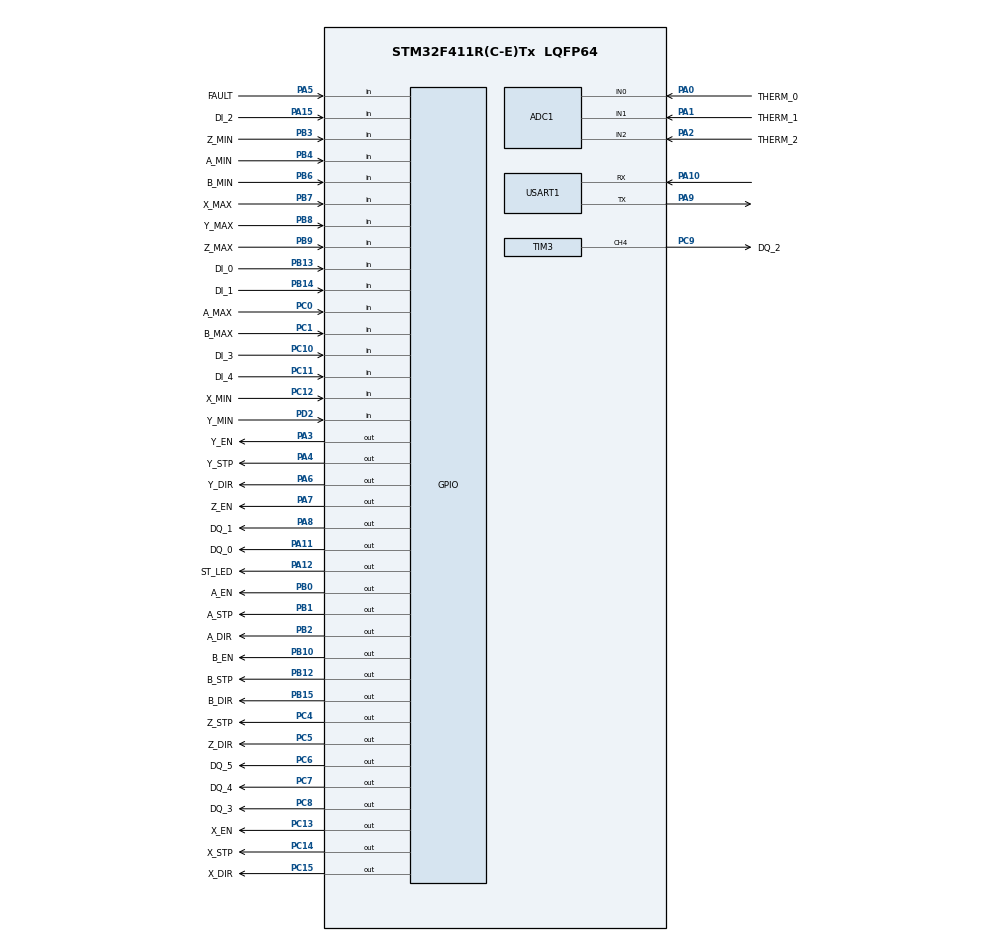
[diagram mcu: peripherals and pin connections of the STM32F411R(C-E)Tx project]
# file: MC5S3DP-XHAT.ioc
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ADC1.Channel-0\#ChannelRegularConversion=ADC_CHANNEL_0
ADC1.NbrOfConversionFlag=1
ADC1.Rank-0\#ChannelRegularConversion=1
ADC1.SamplingTime-0\#ChannelRegularConversion=ADC_SAMPLETIME_3CYCLES
ADC1.master=1
Dma.Request0=USART1_RX
Dma.Request1=USART1_TX
Dma.USART1_RX.0.Direction=DMA_PERIPH_TO_MEMORY
Dma.USART1_RX.0.FIFOMode=DMA_FIFOMODE_DISABLE
Dma.USART1_RX.0.Instance=DMA2_Stream2
Dma.USART1_RX.0.MemDataAlignment=DMA_MDATAALIGN_BYTE
Dma.USART1_RX.0.MemInc=DMA_MINC_ENABLE
Dma.USART1_RX.0.Mode=DMA_CIRCULAR
Dma.USART1_RX.0.PeriphDataAlignment=DMA_PDATAALIGN_BYTE
Dma.USART1_RX.0.PeriphInc=DMA_PINC_DISABLE
Dma.USART1_RX.0.Priority=DMA_PRIORITY_LOW
Dma.USART1_TX.1.Direction=DMA_MEMORY_TO_PERIPH
Dma.USART1_TX.1.FIFOMode=DMA_FIFOMODE_DISABLE
Dma.USART1_TX.1.Instance=DMA2_Stream7
Dma.USART1_TX.1.MemDataAlignment=DMA_MDATAALIGN_BYTE
Dma.USART1_TX.1.MemInc=DMA_MINC_ENABLE
Dma.USART1_TX.1.Mode=DMA_NORMAL
Dma.USART1_TX.1.PeriphDataAlignment=DMA_PDATAALIGN_BYTE
Dma.USART1_TX.1.PeriphInc=DMA_PINC_DISABLE
Dma.USART1_TX.1.Priority=DMA_PRIORITY_LOW
Mcu.Family=STM32F4
Mcu.Name=STM32F411R(C-E)Tx
Mcu.Package=LQFP64
NVIC.DMA2_Stream2_IRQn=true\:0\:0\:false\:false\:true\:false
NVIC.DMA2_Stream7_IRQn=true\:0\:0\:false\:false\:true\:false
NVIC.PriorityGroup=NVIC_PRIORITYGROUP_4
NVIC.USART1_IRQn=true\:0\:0\:false\:false\:true\:true
PA0-WKUP.GPIO_Label=THERM_0
PA0-WKUP.Signal=ADCx_IN0
PA1.GPIO_Label=THERM_1
PA1.Signal=ADCx_IN1
PA10.Mode=Asynchronous
PA10.Signal=USART1_RX
PA11.GPIO_Label=DQ_0
PA11.Signal=GPIO_Output
PA12.GPIO_Label=ST_LED
PA12.Signal=GPIO_Output
PA13.Mode=Serial_Wire
PA13.Signal=SYS_JTMS-SWDIO
PA14.Mode=Serial_Wire
PA14.Signal=SYS_JTCK-SWCLK
PA15.GPIO_Label=DI_2
PA15.GPIO_PuPd=GPIO_PULLUP
PA15.Signal=GPIO_Input
PA2.GPIO_Label=THERM_2
PA2.Signal=ADCx_IN2
PA3.GPIO_Label=Y_EN
PA3.Signal=GPIO_Output
PA4.GPIO_Label=Y_STP
PA4.Signal=GPIO_Output
PA5.GPIO_Label=FAULT
PA5.Signal=GPIO_Input
PA6.GPIO_Label=Y_DIR
PA6.Signal=GPIO_Output
PA7.GPIO_Label=Z_EN
PA7.Signal=GPIO_Output
PA8.GPIO_Label=DQ_1
PA8.Signal=GPIO_Output
PA9.Mode=Asynchronous
PA9.Signal=USART1_TX
PB0.GPIO_Label=A_EN
PB0.Signal=GPIO_Output
PB1.GPIO_Label=A_STP
PB1.Signal=GPIO_Output
PB10.GPIO_Label=B_EN
PB10.Signal=GPIO_Output
PB12.GPIO_Label=B_STP
PB12.Signal=GPIO_Output
PB13.GPIO_Label=DI_0
PB13.GPIO_PuPd=GPIO_PULLUP
PB13.Signal=GPIO_Input
PB14.GPIO_Label=DI_1
PB14.GPIO_PuPd=GPIO_PULLUP
PB14.Signal=GPIO_Input
PB15.GPIO_Label=B_DIR
PB15.Signal=GPIO_Output
PB2.GPIO_Label=A_DIR
PB2.Signal=GPIO_Output
PB3.GPIO_Label=Z_MIN
PB3.GPIO_PuPd=GPIO_PULLUP
PB3.Signal=GPIO_Input
PB4.GPIO_Label=A_MIN
PB4.GPIO_PuPd=GPIO_PULLUP
PB4.Signal=GPIO_Input
PB6.GPIO_Label=B_MIN
PB6.GPIO_PuPd=GPIO_PULLUP
PB6.Signal=GPIO_Input
PB7.GPIO_Label=X_MAX
PB7.GPIO_PuPd=GPIO_PULLUP
PB7.Signal=GPIO_Input
PB8.GPIO_Label=Y_MAX
PB8.GPIO_PuPd=GPIO_PULLUP
PB8.Signal=GPIO_Input
PB9.GPIO_Label=Z_MAX
PB9.GPIO_PuPd=GPIO_PULLUP
PB9.Signal=GPIO_Input
PC0.GPIO_Label=A_MAX
PC0.GPIO_PuPd=GPIO_PULLUP
PC0.Signal=GPIO_Input
PC1.GPIO_Label=B_MAX
PC1.GPIO_PuPd=GPIO_PULLUP
PC1.Signal=GPIO_Input
PC10.GPIO_Label=DI_3
PC10.GPIO_PuPd=GPIO_PULLUP
PC10.Signal=GPIO_Input
PC11.GPIO_Label=DI_4
PC11.GPIO_PuPd=GPIO_PULLUP
PC11.Signal=GPIO_Input
PC12.GPIO_Label=X_MIN
PC12.GPIO_PuPd=GPIO_PULLUP
PC12.Signal=GPIO_Input
PC13-ANTI_TAMP.GPIO_Label=X_EN
PC13-ANTI_TAMP.Signal=GPIO_Output
PC14-OSC32_IN.GPIO_Label=X_STP
PC14-OSC32_IN.Signal=GPIO_Output
PC15-OSC32_OUT.GPIO_Label=X_DIR
PC15-OSC32_OUT.Signal=GPIO_Output
PC4.GPIO_Label=Z_STP
PC4.Signal=GPIO_Output
PC5.GPIO_Label=Z_DIR
PC5.Signal=GPIO_Output
PC6.GPIO_Label=DQ_5
PC6.Signal=GPIO_Output
PC7.GPIO_Label=DQ_4
PC7.Signal=GPIO_Output
PC8.GPIO_Label=DQ_3
PC8.Signal=GPIO_Output
PC9.GPIO_Label=DQ_2
PC9.Signal=S_TIM3_CH4
PD2.GPIO_Label=Y_MIN
PD2.GPIO_PuPd=GPIO_PULLUP
PD2.Signal=GPIO_Input
PH0\ -\ OSC_IN.Mode=HSE-External-Clock-Source
PH0\ -\ OSC_IN.Signal=RCC_OSC_IN
PH1\ -\ OSC_OUT.Mode=HSE-External-Clock-Source
PH1\ -\ OSC_OUT.Signal=RCC_OSC_OUT
ProjectManager.HeapSize=0x200
ProjectManager.StackSize=0x400
ProjectManager.TargetToolchain=SW4STM32
RCC.48MHZClocksFreq_Value=50000000
RCC.AHBFreq_Value=100000000
RCC.APB1CLKDivider=RCC_HCLK_DIV2
RCC.APB1Freq_Value=50000000
RCC.APB1TimFreq_Value=100000000
RCC.APB2Freq_Value=100000000
RCC.APB2TimFreq_Value=100000000
RCC.CortexFreq_Value=100000000
RCC.HCLKFreq_Value=100000000
RCC.HSE_VALUE=8000000
RCC.HSI_VALUE=16000000
RCC.LSE_VALUE=32768
RCC.PLLM=8
RCC.PLLN=200
RCC.PLLSourceVirtual=RCC_PLLSOURCE_HSE
RCC.SYSCLKFreq_VALUE=100000000
RCC.SYSCLKSource=RCC_SYSCLKSOURCE_PLLCLK
RCC.VCOOutputFreq_Value=200000000
SH.ADCx_IN0.0=ADC1_IN0,IN0
SH.ADCx_IN1.0=ADC1_IN1,IN1
SH.ADCx_IN2.0=ADC1_IN2,IN2
SH.S_TIM3_CH4.0=TIM3_CH4,PWM Generation4 CH4
TIM3.Channel-PWM\ Generation4\ CH4=TIM_CHANNEL_4
TIM3.Period=0xFFF
USART1.VirtualMode=VM_ASYNC
board=custom

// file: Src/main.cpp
/**
  ******************************************************************************
  * @file           : main.c
  * @brief          : Main program body
  ******************************************************************************
  ** This notice applies to any and all portions of this file
  * that are not between comment pairs USER CODE BEGIN and
  * USER CODE END. Other portions of this file, whether
  * inserted by the user or by software development tools
  * are owned by their respective copyright owners.
  *
  * COPYRIGHT(c) 2018 STMicroelectronics
  *
  * Redistribution and use in source and binary forms, with or without modification,
  * are permitted provided that the following conditions are met:
  *   1. Redistributions of source code must retain the above copyright notice,
  *      this list of conditions and the following disclaimer.
  *   2. Redistributions in binary form must reproduce the above copyright notice,
  *      this list of conditions and the following disclaimer in the documentation
  *      and/or other materials provided with the distribution.
  *   3. Neither the name of STMicroelectronics nor the names of its contributors
  *      may be used to endorse or promote products derived from this software
  *      without specific prior written permission.
  *
  * THIS SOFTWARE IS PROVIDED BY THE COPYRIGHT HOLDERS AND CONTRIBUTORS "AS IS"
  * AND ANY EXPRESS OR IMPLIED WARRANTIES, INCLUDING, BUT NOT LIMITED TO, THE
  * IMPLIED WARRANTIES OF MERCHANTABILITY AND FITNESS FOR A PARTICULAR PURPOSE ARE
  * DISCLAIMED. IN NO EVENT SHALL THE COPYRIGHT HOLDER OR CONTRIBUTORS BE LIABLE
  * FOR ANY DIRECT, INDIRECT, INCIDENTAL, SPECIAL, EXEMPLARY, OR CONSEQUENTIAL
  * DAMAGES (INCLUDING, BUT NOT LIMITED TO, PROCUREMENT OF SUBSTITUTE GOODS OR
  * SERVICES; LOSS OF USE, DATA, OR PROFITS; OR BUSINESS INTERRUPTION) HOWEVER
  * CAUSED AND ON ANY THEORY OF LIABILITY, WHETHER IN CONTRACT, STRICT LIABILITY,
  * OR TORT (INCLUDING NEGLIGENCE OR OTHERWISE) ARISING IN ANY WAY OUT OF THE USE
  * OF THIS SOFTWARE, EVEN IF ADVISED OF THE POSSIBILITY OF SUCH DAMAGE.
  *
  ******************************************************************************
  */
#include "main.h"

/* USER CODE BEGIN Includes */
#include "spindle_control.h"
#include "coolant_control.h"
/* USER CODE END Includes */

/* USER CODE BEGIN PV */
/* Private variables ---------------------------------------------------------*/

hal::SerialPort serial_port{
  USART1,
  DMA2, LL_DMA_STREAM_2,
  DMA2, LL_DMA_STREAM_7,
};

hal::DigitalOutputPin spindle_enable_pin{DQ_0_GPIO_Port, DQ_0_Pin};
hal::DigitalOutputPin spindle_direction_pin{DQ_1_GPIO_Port, DQ_1_Pin};
hal::PwmPin spindle_speed_pin{TIM3, LL_TIM_CHANNEL_CH4}; //DQ2

grbl::SpindleControl spindle_control {
  spindle_enable_pin,
  spindle_direction_pin,
  spindle_speed_pin,
  1000,
  100
};

/* USER CODE END PV */

static void LL_Init(void);
void SystemClock_Config(void);
static void MX_GPIO_Init(void);
static void MX_DMA_Init(void);
static void MX_ADC1_Init(void);
static void MX_USART1_UART_Init(void);
static void MX_TIM3_Init(void);

/* USER CODE BEGIN PFP */
/* Private function prototypes -----------------------------------------------*/

/* USER CODE END PFP */

int main(void)
{
  /* USER CODE BEGIN 1 */
  static uint8_t b;
  static uint8_t data[100];
  static uint32_t idx = 0;

  /* USER CODE END 1 */

  /* MCU Configuration----------------------------------------------------------*/

  /* Reset of all peripherals, Initializes the Flash interface and the Systick. */
  LL_Init();

  /* Configure the system clock */
  SystemClock_Config();

  /* Initialize all configured peripherals */
  MX_GPIO_Init();
  MX_DMA_Init();
  MX_ADC1_Init();
  MX_USART1_UART_Init();
  MX_TIM3_Init();
  /* USER CODE BEGIN 2 */

//  LL_SYSTICK_EnableIT();
//  LL_TIM_EnableCounter(TIM3);
//  LL_TIM_EnableAllOutputs(TIM3);

//  hal::SerialPort serial_port(115200);
//
//  hal::DigitalOutputPin spindle_enable_pin(DQ_0_GPIO_Port, DQ_0_Pin);
//  hal::DigitalOutputPin spindle_direction_pin(DQ_1_GPIO_Port, DQ_1_Pin);
//  hal::PwmPin spindle_speed_pin(TIM3, LL_TIM_CHANNEL_CH4); //DQ2
//
//  grbl::SpindleControl spindle(
//      spindle_enable_pin,
//      spindle_direction_pin,
//      spindle_speed_pin,
//      1000,
//      100);

  serial_port.Open(115200);
   /* USER CODE END 2 */

  /* Infinite loop */
  /* USER CODE BEGIN WHILE */
//  char str[] = "Ana are";
  char str[] = "Andreea are mere frumoase si zemoase!\n";
  uint32_t i = 0;
  while(str[i] != 0) {
    while(!serial_port.Write(str[i]));
    i++;
  }

  while(1) {
    if(serial_port.Read(b)) {
//      data[idx++] = b;
      serial_port.Write(b);
    }
  }
  /* USER CODE END WHILE */

}

static void LL_Init(void)
{

  LL_APB2_GRP1_EnableClock(LL_APB2_GRP1_PERIPH_SYSCFG);
  LL_APB1_GRP1_EnableClock(LL_APB1_GRP1_PERIPH_PWR);

  NVIC_SetPriorityGrouping(NVIC_PRIORITYGROUP_4);

  /* System interrupt init*/
  /* MemoryManagement_IRQn interrupt configuration */
  NVIC_SetPriority(MemoryManagement_IRQn, NVIC_EncodePriority(NVIC_GetPriorityGrouping(),0, 0));
  /* BusFault_IRQn interrupt configuration */
  NVIC_SetPriority(BusFault_IRQn, NVIC_EncodePriority(NVIC_GetPriorityGrouping(),0, 0));
  /* UsageFault_IRQn interrupt configuration */
  NVIC_SetPriority(UsageFault_IRQn, NVIC_EncodePriority(NVIC_GetPriorityGrouping(),0, 0));
  /* SVCall_IRQn interrupt configuration */
  NVIC_SetPriority(SVCall_IRQn, NVIC_EncodePriority(NVIC_GetPriorityGrouping(),0, 0));
  /* DebugMonitor_IRQn interrupt configuration */
  NVIC_SetPriority(DebugMonitor_IRQn, NVIC_EncodePriority(NVIC_GetPriorityGrouping(),0, 0));
  /* PendSV_IRQn interrupt configuration */
  NVIC_SetPriority(PendSV_IRQn, NVIC_EncodePriority(NVIC_GetPriorityGrouping(),0, 0));
  /* SysTick_IRQn interrupt configuration */
  NVIC_SetPriority(SysTick_IRQn, NVIC_EncodePriority(NVIC_GetPriorityGrouping(),0, 0));

}

void SystemClock_Config(void)
{

  LL_FLASH_SetLatency(LL_FLASH_LATENCY_3);

  if(LL_FLASH_GetLatency() != LL_FLASH_LATENCY_3)
  {
  Error_Handler();
  }
  LL_PWR_SetRegulVoltageScaling(LL_PWR_REGU_VOLTAGE_SCALE1);

  LL_RCC_HSE_EnableBypass();

  LL_RCC_HSE_Enable();

   /* Wait till HSE is ready */
  while(LL_RCC_HSE_IsReady() != 1)
  {

  }
  LL_RCC_PLL_ConfigDomain_SYS(LL_RCC_PLLSOURCE_HSE, LL_RCC_PLLM_DIV_8, 200, LL_RCC_PLLP_DIV_2);

  LL_RCC_PLL_Enable();

   /* Wait till PLL is ready */
  while(LL_RCC_PLL_IsReady() != 1)
  {

  }
  LL_RCC_SetAHBPrescaler(LL_RCC_SYSCLK_DIV_1);

  LL_RCC_SetAPB1Prescaler(LL_RCC_APB1_DIV_2);

  LL_RCC_SetAPB2Prescaler(LL_RCC_APB2_DIV_1);

  LL_RCC_SetSysClkSource(LL_RCC_SYS_CLKSOURCE_PLL);

   /* Wait till System clock is ready */
  while(LL_RCC_GetSysClkSource() != LL_RCC_SYS_CLKSOURCE_STATUS_PLL)
  {

  }
  LL_Init1msTick(100000000);

  LL_SYSTICK_SetClkSource(LL_SYSTICK_CLKSOURCE_HCLK);

  LL_SetSystemCoreClock(100000000);

  LL_RCC_SetTIMPrescaler(LL_RCC_TIM_PRESCALER_TWICE);

  /* SysTick_IRQn interrupt configuration */
  NVIC_SetPriority(SysTick_IRQn, NVIC_EncodePriority(NVIC_GetPriorityGrouping(),0, 0));
}

/* ADC1 init function */
static void MX_ADC1_Init(void)
{

  LL_ADC_InitTypeDef ADC_InitStruct;
  LL_ADC_REG_InitTypeDef ADC_REG_InitStruct;
  LL_ADC_CommonInitTypeDef ADC_CommonInitStruct;

  LL_GPIO_InitTypeDef GPIO_InitStruct;

  /* Peripheral clock enable */
  LL_APB2_GRP1_EnableClock(LL_APB2_GRP1_PERIPH_ADC1);

  /**ADC1 GPIO Configuration
  PA0-WKUP   ------> ADC1_IN0
  PA1   ------> ADC1_IN1
  PA2   ------> ADC1_IN2
  */
  GPIO_InitStruct.Pin = THERM_0_Pin|THERM_1_Pin|THERM_2_Pin;
  GPIO_InitStruct.Mode = LL_GPIO_MODE_ANALOG;
  GPIO_InitStruct.Pull = LL_GPIO_PULL_NO;
  LL_GPIO_Init(GPIOA, &GPIO_InitStruct);

    /**Common config
    */
  ADC_InitStruct.Resolution = LL_ADC_RESOLUTION_12B;
  ADC_InitStruct.DataAlignment = LL_ADC_DATA_ALIGN_RIGHT;
  ADC_InitStruct.SequencersScanMode = LL_ADC_SEQ_SCAN_DISABLE;
  LL_ADC_Init(ADC1, &ADC_InitStruct);

  ADC_REG_InitStruct.TriggerSource = LL_ADC_REG_TRIG_SOFTWARE;
  ADC_REG_InitStruct.SequencerLength = LL_ADC_REG_SEQ_SCAN_DISABLE;
  ADC_REG_InitStruct.SequencerDiscont = LL_ADC_REG_SEQ_DISCONT_DISABLE;
  ADC_REG_InitStruct.ContinuousMode = LL_ADC_REG_CONV_SINGLE;
  ADC_REG_InitStruct.DMATransfer = LL_ADC_REG_DMA_TRANSFER_LIMITED;
  LL_ADC_REG_Init(ADC1, &ADC_REG_InitStruct);

  LL_ADC_REG_SetFlagEndOfConversion(ADC1, LL_ADC_REG_FLAG_EOC_UNITARY_CONV);

  ADC_CommonInitStruct.CommonClock = LL_ADC_CLOCK_SYNC_PCLK_DIV4;
  LL_ADC_CommonInit(__LL_ADC_COMMON_INSTANCE(ADC1), &ADC_CommonInitStruct);

    /**Configure Regular Channel
    */
  LL_ADC_REG_SetSequencerRanks(ADC1, LL_ADC_REG_RANK_1, LL_ADC_CHANNEL_0);

  LL_ADC_SetChannelSamplingTime(ADC1, LL_ADC_CHANNEL_0, LL_ADC_SAMPLINGTIME_3CYCLES);

}

/* TIM3 init function */
static void MX_TIM3_Init(void)
{

  LL_TIM_InitTypeDef TIM_InitStruct;
  LL_TIM_OC_InitTypeDef TIM_OC_InitStruct;

  LL_GPIO_InitTypeDef GPIO_InitStruct;

  /* Peripheral clock enable */
  LL_APB1_GRP1_EnableClock(LL_APB1_GRP1_PERIPH_TIM3);

  TIM_InitStruct.Prescaler = 0;
  TIM_InitStruct.CounterMode = LL_TIM_COUNTERMODE_UP;
  TIM_InitStruct.Autoreload = 0xFFF;
  TIM_InitStruct.ClockDivision = LL_TIM_CLOCKDIVISION_DIV1;
  LL_TIM_Init(TIM3, &TIM_InitStruct);

  LL_TIM_OC_EnablePreload(TIM3, LL_TIM_CHANNEL_CH4);

  TIM_OC_InitStruct.OCMode = LL_TIM_OCMODE_PWM1;
  TIM_OC_InitStruct.OCState = LL_TIM_OCSTATE_ENABLE;
  TIM_OC_InitStruct.OCNState = LL_TIM_OCSTATE_DISABLE;
  TIM_OC_InitStruct.CompareValue = 0;
  TIM_OC_InitStruct.OCPolarity = LL_TIM_OCPOLARITY_HIGH;
  LL_TIM_OC_Init(TIM3, LL_TIM_CHANNEL_CH4, &TIM_OC_InitStruct);

  LL_TIM_OC_DisableFast(TIM3, LL_TIM_CHANNEL_CH4);

  LL_TIM_SetTriggerOutput(TIM3, LL_TIM_TRGO_RESET);

  LL_TIM_DisableMasterSlaveMode(TIM3);

  /**TIM3 GPIO Configuration
  PC9   ------> TIM3_CH4
  */
  GPIO_InitStruct.Pin = DQ_2_Pin;
  GPIO_InitStruct.Mode = LL_GPIO_MODE_ALTERNATE;
  GPIO_InitStruct.Speed = LL_GPIO_SPEED_FREQ_LOW;
  GPIO_InitStruct.OutputType = LL_GPIO_OUTPUT_PUSHPULL;
  GPIO_InitStruct.Pull = LL_GPIO_PULL_NO;
  GPIO_InitStruct.Alternate = LL_GPIO_AF_2;
  LL_GPIO_Init(DQ_2_GPIO_Port, &GPIO_InitStruct);

}

/* USART1 init function */
static void MX_USART1_UART_Init(void)
{

  LL_USART_InitTypeDef USART_InitStruct;

  LL_GPIO_InitTypeDef GPIO_InitStruct;

  /* Peripheral clock enable */
  LL_APB2_GRP1_EnableClock(LL_APB2_GRP1_PERIPH_USART1);

  /**USART1 GPIO Configuration
  PA9   ------> USART1_TX
  PA10   ------> USART1_RX
  */
  GPIO_InitStruct.Pin = LL_GPIO_PIN_9|LL_GPIO_PIN_10;
  GPIO_InitStruct.Mode = LL_GPIO_MODE_ALTERNATE;
  GPIO_InitStruct.Speed = LL_GPIO_SPEED_FREQ_VERY_HIGH;
  GPIO_InitStruct.OutputType = LL_GPIO_OUTPUT_PUSHPULL;
  GPIO_InitStruct.Pull = LL_GPIO_PULL_UP;
  GPIO_InitStruct.Alternate = LL_GPIO_AF_7;
  LL_GPIO_Init(GPIOA, &GPIO_InitStruct);

  /* USART1 DMA Init */

  /* USART1_RX Init */
  LL_DMA_SetChannelSelection(DMA2, LL_DMA_STREAM_2, LL_DMA_CHANNEL_4);

  LL_DMA_SetDataTransferDirection(DMA2, LL_DMA_STREAM_2, LL_DMA_DIRECTION_PERIPH_TO_MEMORY);

  LL_DMA_SetStreamPriorityLevel(DMA2, LL_DMA_STREAM_2, LL_DMA_PRIORITY_LOW);

  LL_DMA_SetMode(DMA2, LL_DMA_STREAM_2, LL_DMA_MODE_CIRCULAR);

  LL_DMA_SetPeriphIncMode(DMA2, LL_DMA_STREAM_2, LL_DMA_PERIPH_NOINCREMENT);

  LL_DMA_SetMemoryIncMode(DMA2, LL_DMA_STREAM_2, LL_DMA_MEMORY_INCREMENT);

  LL_DMA_SetPeriphSize(DMA2, LL_DMA_STREAM_2, LL_DMA_PDATAALIGN_BYTE);

  LL_DMA_SetMemorySize(DMA2, LL_DMA_STREAM_2, LL_DMA_MDATAALIGN_BYTE);

  LL_DMA_DisableFifoMode(DMA2, LL_DMA_STREAM_2);

  /* USART1_TX Init */
  LL_DMA_SetChannelSelection(DMA2, LL_DMA_STREAM_7, LL_DMA_CHANNEL_4);

  LL_DMA_SetDataTransferDirection(DMA2, LL_DMA_STREAM_7, LL_DMA_DIRECTION_MEMORY_TO_PERIPH);

  LL_DMA_SetStreamPriorityLevel(DMA2, LL_DMA_STREAM_7, LL_DMA_PRIORITY_LOW);

  LL_DMA_SetMode(DMA2, LL_DMA_STREAM_7, LL_DMA_MODE_NORMAL);

  LL_DMA_SetPeriphIncMode(DMA2, LL_DMA_STREAM_7, LL_DMA_PERIPH_NOINCREMENT);

  LL_DMA_SetMemoryIncMode(DMA2, LL_DMA_STREAM_7, LL_DMA_MEMORY_INCREMENT);

  LL_DMA_SetPeriphSize(DMA2, LL_DMA_STREAM_7, LL_DMA_PDATAALIGN_BYTE);

  LL_DMA_SetMemorySize(DMA2, LL_DMA_STREAM_7, LL_DMA_MDATAALIGN_BYTE);

  LL_DMA_DisableFifoMode(DMA2, LL_DMA_STREAM_7);

  /* USART1 interrupt Init */
  NVIC_SetPriority(USART1_IRQn, NVIC_EncodePriority(NVIC_GetPriorityGrouping(),0, 0));
  NVIC_EnableIRQ(USART1_IRQn);

  USART_InitStruct.BaudRate = 115200;
  USART_InitStruct.DataWidth = LL_USART_DATAWIDTH_8B;
  USART_InitStruct.StopBits = LL_USART_STOPBITS_1;
  USART_InitStruct.Parity = LL_USART_PARITY_NONE;
  USART_InitStruct.TransferDirection = LL_USART_DIRECTION_TX_RX;
  USART_InitStruct.HardwareFlowControl = LL_USART_HWCONTROL_NONE;
  USART_InitStruct.OverSampling = LL_USART_OVERSAMPLING_16;
  LL_USART_Init(USART1, &USART_InitStruct);

  LL_USART_ConfigAsyncMode(USART1);

  LL_USART_Enable(USART1);

}

static void MX_DMA_Init(void)
{
  /* Init with LL driver */
  /* DMA controller clock enable */
  LL_AHB1_GRP1_EnableClock(LL_AHB1_GRP1_PERIPH_DMA2);

  /* DMA interrupt init */
  /* DMA2_Stream2_IRQn interrupt configuration */
  NVIC_SetPriority(DMA2_Stream2_IRQn, NVIC_EncodePriority(NVIC_GetPriorityGrouping(),0, 0));
  NVIC_EnableIRQ(DMA2_Stream2_IRQn);
  /* DMA2_Stream7_IRQn interrupt configuration */
  NVIC_SetPriority(DMA2_Stream7_IRQn, NVIC_EncodePriority(NVIC_GetPriorityGrouping(),0, 0));
  NVIC_EnableIRQ(DMA2_Stream7_IRQn);

}

/** Configure pins as
        * Analog
        * Input
        * Output
        * EVENT_OUT
        * EXTI
*/
static void MX_GPIO_Init(void)
{

  LL_GPIO_InitTypeDef GPIO_InitStruct;

  /* GPIO Ports Clock Enable */
  LL_AHB1_GRP1_EnableClock(LL_AHB1_GRP1_PERIPH_GPIOC);
  LL_AHB1_GRP1_EnableClock(LL_AHB1_GRP1_PERIPH_GPIOH);
  LL_AHB1_GRP1_EnableClock(LL_AHB1_GRP1_PERIPH_GPIOA);
  LL_AHB1_GRP1_EnableClock(LL_AHB1_GRP1_PERIPH_GPIOB);
  LL_AHB1_GRP1_EnableClock(LL_AHB1_GRP1_PERIPH_GPIOD);

  /**/
  LL_GPIO_ResetOutputPin(GPIOC, X_EN_Pin|X_STP_Pin|X_DIR_Pin|Z_STP_Pin
                          |Z_DIR_Pin|DQ_5_Pin|DQ_4_Pin|DQ_3_Pin);

  /**/
  LL_GPIO_ResetOutputPin(GPIOA, Y_EN_Pin|Y_STP_Pin|Y_DIR_Pin|Z_EN_Pin
                          |DQ_1_Pin|DQ_0_Pin|ST_LED_Pin);

  /**/
  LL_GPIO_ResetOutputPin(GPIOB, A_EN_Pin|A_STP_Pin|A_DIR_Pin|B_EN_Pin
                          |B_STP_Pin|B_DIR_Pin);

  /**/
  GPIO_InitStruct.Pin = X_EN_Pin|X_STP_Pin|X_DIR_Pin|Z_STP_Pin
                          |Z_DIR_Pin|DQ_5_Pin|DQ_4_Pin|DQ_3_Pin;
  GPIO_InitStruct.Mode = LL_GPIO_MODE_OUTPUT;
  GPIO_InitStruct.Speed = LL_GPIO_SPEED_FREQ_LOW;
  GPIO_InitStruct.OutputType = LL_GPIO_OUTPUT_PUSHPULL;
  GPIO_InitStruct.Pull = LL_GPIO_PULL_NO;
  LL_GPIO_Init(GPIOC, &GPIO_InitStruct);

  /**/
  GPIO_InitStruct.Pin = A_MAX_Pin|B_MAX_Pin|DI_3_Pin|DI_4_Pin
                          |X_MIN_Pin;
  GPIO_InitStruct.Mode = LL_GPIO_MODE_INPUT;
  GPIO_InitStruct.Pull = LL_GPIO_PULL_UP;
  LL_GPIO_Init(GPIOC, &GPIO_InitStruct);

  /**/
  GPIO_InitStruct.Pin = Y_EN_Pin|Y_STP_Pin|Y_DIR_Pin|Z_EN_Pin
                          |DQ_1_Pin|DQ_0_Pin|ST_LED_Pin;
  GPIO_InitStruct.Mode = LL_GPIO_MODE_OUTPUT;
  GPIO_InitStruct.Speed = LL_GPIO_SPEED_FREQ_LOW;
  GPIO_InitStruct.OutputType = LL_GPIO_OUTPUT_PUSHPULL;
  GPIO_InitStruct.Pull = LL_GPIO_PULL_NO;
  LL_GPIO_Init(GPIOA, &GPIO_InitStruct);

  /**/
  GPIO_InitStruct.Pin = FAULT_Pin;
  GPIO_InitStruct.Mode = LL_GPIO_MODE_INPUT;
  GPIO_InitStruct.Pull = LL_GPIO_PULL_NO;
  LL_GPIO_Init(FAULT_GPIO_Port, &GPIO_InitStruct);

  /**/
  GPIO_InitStruct.Pin = A_EN_Pin|A_STP_Pin|A_DIR_Pin|B_EN_Pin
                          |B_STP_Pin|B_DIR_Pin;
  GPIO_InitStruct.Mode = LL_GPIO_MODE_OUTPUT;
  GPIO_InitStruct.Speed = LL_GPIO_SPEED_FREQ_LOW;
  GPIO_InitStruct.OutputType = LL_GPIO_OUTPUT_PUSHPULL;
  GPIO_InitStruct.Pull = LL_GPIO_PULL_NO;
  LL_GPIO_Init(GPIOB, &GPIO_InitStruct);

  /**/
  GPIO_InitStruct.Pin = DI_0_Pin|DI_1_Pin|Z_MIN_Pin|A_MIN_Pin
                          |B_MIN_Pin|X_MAX_Pin|Y_MAX_Pin|Z_MAX_Pin;
  GPIO_InitStruct.Mode = LL_GPIO_MODE_INPUT;
  GPIO_InitStruct.Pull = LL_GPIO_PULL_UP;
  LL_GPIO_Init(GPIOB, &GPIO_InitStruct);

  /**/
  GPIO_InitStruct.Pin = DI_2_Pin;
  GPIO_InitStruct.Mode = LL_GPIO_MODE_INPUT;
  GPIO_InitStruct.Pull = LL_GPIO_PULL_UP;
  LL_GPIO_Init(DI_2_GPIO_Port, &GPIO_InitStruct);

  /**/
  GPIO_InitStruct.Pin = Y_MIN_Pin;
  GPIO_InitStruct.Mode = LL_GPIO_MODE_INPUT;
  GPIO_InitStruct.Pull = LL_GPIO_PULL_UP;
  LL_GPIO_Init(Y_MIN_GPIO_Port, &GPIO_InitStruct);

}

/* USER CODE BEGIN 4 */

/**
* @brief This function handles DMA2 stream7 global interrupt.
*/
extern "C" void DMA2_Stream7_IRQHandler(void)
{
  serial_port.ISR();
}

/* USER CODE END 4 */

void _Error_Handler(char *file, int line)
{
  while(1)
  {
  }
}

/************************ (C) COPYRIGHT STMicroelectronics *****END OF FILE****/
